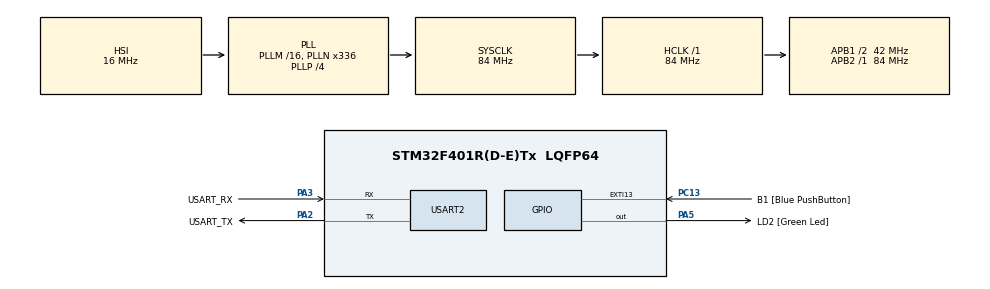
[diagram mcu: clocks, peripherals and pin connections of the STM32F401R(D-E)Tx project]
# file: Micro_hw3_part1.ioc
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Mcu.Family=STM32F4
Mcu.Name=STM32F401R(D-E)Tx
Mcu.Package=LQFP64
NVIC.EXTI15_10_IRQn=true\:0\:0\:false\:false\:true\:true
NVIC.PriorityGroup=NVIC_PRIORITYGROUP_0
NVIC.USART2_IRQn=true\:0\:0\:false\:false\:true\:true
PA13.GPIO_Label=TMS
PA13.Signal=SYS_JTMS-SWDIO
PA14.GPIO_Label=TCK
PA14.Signal=SYS_JTCK-SWCLK
PA2.GPIO_Label=USART_TX
PA2.GPIO_Mode=GPIO_MODE_AF_PP
PA2.GPIO_PuPd=GPIO_NOPULL
PA2.GPIO_Speed=GPIO_SPEED_FREQ_LOW
PA2.Mode=Asynchronous
PA2.Signal=USART2_TX
PA3.GPIO_Label=USART_RX
PA3.GPIO_Mode=GPIO_MODE_AF_PP
PA3.GPIO_PuPd=GPIO_NOPULL
PA3.GPIO_Speed=GPIO_SPEED_FREQ_LOW
PA3.Mode=Asynchronous
PA3.Signal=USART2_RX
PA5.GPIO_Label=LD2 [Green Led]
PA5.GPIO_Mode=GPIO_MODE_OUTPUT_PP
PA5.GPIO_PuPd=GPIO_NOPULL
PA5.GPIO_Speed=GPIO_SPEED_FREQ_LOW
PA5.Signal=GPIO_Output
PB3.GPIO_Label=SWO
PB3.Signal=SYS_JTDO-SWO
PC13-ANTI_TAMP.GPIO_Label=B1 [Blue PushButton]
PC13-ANTI_TAMP.GPIO_ModeDefaultEXTI=GPIO_MODE_IT_FALLING
PC13-ANTI_TAMP.GPIO_PuPd=GPIO_NOPULL
PC13-ANTI_TAMP.Signal=GPXTI13
PC14-OSC32_IN.Signal=RCC_OSC32_IN
PC15-OSC32_OUT.Signal=RCC_OSC32_OUT
PH0\ -\ OSC_IN.Signal=RCC_OSC_IN
PH1\ -\ OSC_OUT.Signal=RCC_OSC_OUT
ProjectManager.HeapSize=0x200
ProjectManager.StackSize=0x400
ProjectManager.TargetToolchain=MDK-ARM V5
RCC.AHBFreq_Value=84000000
RCC.APB1CLKDivider=RCC_HCLK_DIV2
RCC.APB1Freq_Value=42000000
RCC.APB1TimFreq_Value=84000000
RCC.APB2Freq_Value=84000000
RCC.APB2TimFreq_Value=84000000
RCC.CortexFreq_Value=84000000
RCC.HCLKFreq_Value=84000000
RCC.HSE_VALUE=8000000
RCC.HSI_VALUE=16000000
RCC.LSE_VALUE=32768
RCC.PLLN=336
RCC.PLLP=RCC_PLLP_DIV4
RCC.PLLQ=7
RCC.SYSCLKFreq_VALUE=84000000
RCC.SYSCLKSource=RCC_SYSCLKSOURCE_PLLCLK
RCC.VCOOutputFreq_Value=336000000
USART2.VirtualMode=VM_ASYNC
board=NUCLEO-F401RE

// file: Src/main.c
/* USER CODE BEGIN Header */
/**
  ******************************************************************************
  * @file           : main.c
  * @brief          : Main program body
  ******************************************************************************
  ** This notice applies to any and all portions of this file
  * that are not between comment pairs USER CODE BEGIN and
  * USER CODE END. Other portions of this file, whether
  * inserted by the user or by software development tools
  * are owned by their respective copyright owners.
  *
  * COPYRIGHT(c) 2019 STMicroelectronics
  *
  * Redistribution and use in source and binary forms, with or without modification,
  * are permitted provided that the following conditions are met:
  *   1. Redistributions of source code must retain the above copyright notice,
  *      this list of conditions and the following disclaimer.
  *   2. Redistributions in binary form must reproduce the above copyright notice,
  *      this list of conditions and the following disclaimer in the documentation
  *      and/or other materials provided with the distribution.
  *   3. Neither the name of STMicroelectronics nor the names of its contributors
  *      may be used to endorse or promote products derived from this software
  *      without specific prior written permission.
  *
  * THIS SOFTWARE IS PROVIDED BY THE COPYRIGHT HOLDERS AND CONTRIBUTORS "AS IS"
  * AND ANY EXPRESS OR IMPLIED WARRANTIES, INCLUDING, BUT NOT LIMITED TO, THE
  * IMPLIED WARRANTIES OF MERCHANTABILITY AND FITNESS FOR A PARTICULAR PURPOSE ARE
  * DISCLAIMED. IN NO EVENT SHALL THE COPYRIGHT HOLDER OR CONTRIBUTORS BE LIABLE
  * FOR ANY DIRECT, INDIRECT, INCIDENTAL, SPECIAL, EXEMPLARY, OR CONSEQUENTIAL
  * DAMAGES (INCLUDING, BUT NOT LIMITED TO, PROCUREMENT OF SUBSTITUTE GOODS OR
  * SERVICES; LOSS OF USE, DATA, OR PROFITS; OR BUSINESS INTERRUPTION) HOWEVER
  * CAUSED AND ON ANY THEORY OF LIABILITY, WHETHER IN CONTRACT, STRICT LIABILITY,
  * OR TORT (INCLUDING NEGLIGENCE OR OTHERWISE) ARISING IN ANY WAY OUT OF THE USE
  * OF THIS SOFTWARE, EVEN IF ADVISED OF THE POSSIBILITY OF SUCH DAMAGE.
  *
  ******************************************************************************
  */
/* USER CODE END Header */

#include "main.h"

UART_HandleTypeDef huart2;

/* USER CODE BEGIN PV */
volatile int flag=0;
/* USER CODE END PV */

void SystemClock_Config(void);
static void MX_GPIO_Init(void);
static void MX_USART2_UART_Init(void);

/* USER CODE BEGIN 0 */
enum{first=9600,second=115200,third=1000000};
typedef struct
{
	GPIO_TypeDef* led_ports[4];
	uint16_t led_pins[4];
}LED;
/* USER CODE END 0 */

int main(void)
{

  /* MCU Configuration--------------------------------------------------------*/

  /* Reset of all peripherals, Initializes the Flash interface and the Systick. */
  HAL_Init();

  /* Configure the system clock */
  SystemClock_Config();

  /* Initialize all configured peripherals */
  MX_GPIO_Init();
  MX_USART2_UART_Init();
  /* USER CODE BEGIN 2 */
	LED led;
	led.led_ports[0]=GPIOA;
	led.led_ports[1]=GPIOA;
	led.led_ports[2]=GPIOA;
	led.led_ports[3]=GPIOA;

	led.led_pins[0]=GPIO_PIN_0;
	led.led_pins[1]=GPIO_PIN_1;
	led.led_pins[2]=GPIO_PIN_2;
	led.led_pins[3]=GPIO_PIN_3;
//first question
	for(int j=first;j<=third;j++)
	{
		huart2.Init.BaudRate = j;
		HAL_UART_Init(&huart2);
	  for(int i=1;i<=2000;i++)
	 {
      char string[16];
      sprintf(string, "HELLO UART %4d\n",i);
      HAL_UART_Transmit(&huart2,(uint8_t*) string,16,100);
	 }
	}
	//second question
	uint8_t my_char[8];
  HAL_UART_Receive_IT(&huart2,(uint8_t*) my_char,8);

  /* USER CODE END 2 */

  /* Infinite loop */
  while (1)
  {

    /* USER CODE BEGIN 3 */
		if (flag)
		{
			if(my_char[0]==255 && my_char[1]==255 && my_char[6]==200 && my_char[7]==200)
	{
		for(int j=0;j<4;j++)
		HAL_GPIO_WritePin(led.led_ports[j],led.led_pins[j],my_char[j+2]);
	}
		}
  }
  /* USER CODE END 3 */
}

void SystemClock_Config(void)
{
  RCC_OscInitTypeDef RCC_OscInitStruct = {0};
  RCC_ClkInitTypeDef RCC_ClkInitStruct = {0};

  /**Configure the main internal regulator output voltage
  */
  __HAL_RCC_PWR_CLK_ENABLE();
  __HAL_PWR_VOLTAGESCALING_CONFIG(PWR_REGULATOR_VOLTAGE_SCALE2);
  /**Initializes the CPU, AHB and APB busses clocks
  */
  RCC_OscInitStruct.OscillatorType = RCC_OSCILLATORTYPE_HSI;
  RCC_OscInitStruct.HSIState = RCC_HSI_ON;
  RCC_OscInitStruct.HSICalibrationValue = RCC_HSICALIBRATION_DEFAULT;
  RCC_OscInitStruct.PLL.PLLState = RCC_PLL_ON;
  RCC_OscInitStruct.PLL.PLLSource = RCC_PLLSOURCE_HSI;
  RCC_OscInitStruct.PLL.PLLM = 16;
  RCC_OscInitStruct.PLL.PLLN = 336;
  RCC_OscInitStruct.PLL.PLLP = RCC_PLLP_DIV4;
  RCC_OscInitStruct.PLL.PLLQ = 7;
  if (HAL_RCC_OscConfig(&RCC_OscInitStruct) != HAL_OK)
  {
    Error_Handler();
  }
  /**Initializes the CPU, AHB and APB busses clocks
  */
  RCC_ClkInitStruct.ClockType = RCC_CLOCKTYPE_HCLK|RCC_CLOCKTYPE_SYSCLK
                              |RCC_CLOCKTYPE_PCLK1|RCC_CLOCKTYPE_PCLK2;
  RCC_ClkInitStruct.SYSCLKSource = RCC_SYSCLKSOURCE_PLLCLK;
  RCC_ClkInitStruct.AHBCLKDivider = RCC_SYSCLK_DIV1;
  RCC_ClkInitStruct.APB1CLKDivider = RCC_HCLK_DIV2;
  RCC_ClkInitStruct.APB2CLKDivider = RCC_HCLK_DIV1;

  if (HAL_RCC_ClockConfig(&RCC_ClkInitStruct, FLASH_LATENCY_2) != HAL_OK)
  {
    Error_Handler();
  }
}

static void MX_USART2_UART_Init(void)
{

  huart2.Instance = USART2;
  huart2.Init.BaudRate = 115200;
  huart2.Init.WordLength = UART_WORDLENGTH_8B;
  huart2.Init.StopBits = UART_STOPBITS_1;
  huart2.Init.Parity = UART_PARITY_NONE;
  huart2.Init.Mode = UART_MODE_TX_RX;
  huart2.Init.HwFlowCtl = UART_HWCONTROL_NONE;
  huart2.Init.OverSampling = UART_OVERSAMPLING_16;
  if (HAL_UART_Init(&huart2) != HAL_OK)
  {
    Error_Handler();
  }

}

static void MX_GPIO_Init(void)
{
  GPIO_InitTypeDef GPIO_InitStruct = {0};

  /* GPIO Ports Clock Enable */
  __HAL_RCC_GPIOC_CLK_ENABLE();
  __HAL_RCC_GPIOH_CLK_ENABLE();
  __HAL_RCC_GPIOA_CLK_ENABLE();
  __HAL_RCC_GPIOB_CLK_ENABLE();

  /*Configure GPIO pin Output Level */
  HAL_GPIO_WritePin(LD2_GPIO_Port, LD2_Pin, GPIO_PIN_RESET);

  /*Configure GPIO pin : B1_Pin */
  GPIO_InitStruct.Pin = B1_Pin;
  GPIO_InitStruct.Mode = GPIO_MODE_IT_FALLING;
  GPIO_InitStruct.Pull = GPIO_NOPULL;
  HAL_GPIO_Init(B1_GPIO_Port, &GPIO_InitStruct);

  /*Configure GPIO pin : LD2_Pin */
  GPIO_InitStruct.Pin = LD2_Pin;
  GPIO_InitStruct.Mode = GPIO_MODE_OUTPUT_PP;
  GPIO_InitStruct.Pull = GPIO_NOPULL;
  GPIO_InitStruct.Speed = GPIO_SPEED_FREQ_LOW;
  HAL_GPIO_Init(LD2_GPIO_Port, &GPIO_InitStruct);

  /* EXTI interrupt init*/
  HAL_NVIC_SetPriority(EXTI15_10_IRQn, 0, 0);
  HAL_NVIC_EnableIRQ(EXTI15_10_IRQn);

}

void Error_Handler(void)
{
}

#ifdef  USE_FULL_ASSERT
/**
  * @brief  Reports the name of the source file and the source line number
  *         where the assert_param error has occurred.
  * @param  file: pointer to the source file name
  * @param  line: assert_param error line source number
  * @retval None
  */
void assert_failed(uint8_t *file, uint32_t line)
{
  /* USER CODE BEGIN 6 */
	void HAL_UART_RxCpltCallback(UART_HandleTypeDef *huart)
{
  /* Prevent unused argument(s) compilation warning */
  UNUSED(huart);
	flag=1;
  /* NOTE: This function Should not be modified, when the callback is needed,
           the HAL_UART_TxCpltCallback could be implemented in the user file
   */
}
  /* User can add his own implementation to report the file name and line number,
     tex: printf("Wrong parameters value: file %s on line %d\r\n", file, line) */
  /* USER CODE END 6 */
}
#endif /* USE_FULL_ASSERT */

/************************ (C) COPYRIGHT STMicroelectronics *****END OF FILE****/
